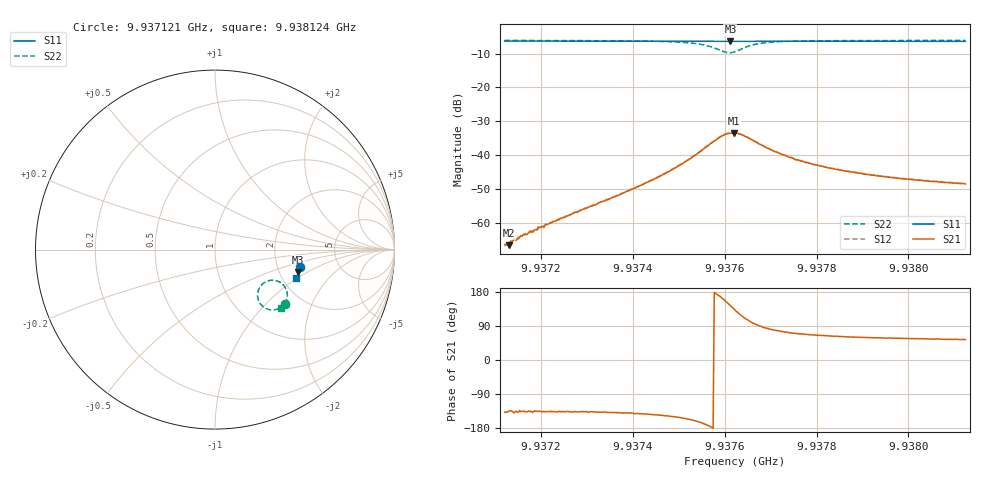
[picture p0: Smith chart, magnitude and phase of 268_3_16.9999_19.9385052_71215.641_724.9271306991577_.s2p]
#  HZ  S  RI  R  50.00
! Rohde & Schwarz Vector Network Analyzer
! Rohde-Schwarz,ZNB20-2Port,1311601062101988,3.16
! Created: UTC 3/20/2024, 11:04:05 PM
! freq[Hz]  re:S11  im:S11  re:S21  im:S21  re:S12  im:S12  re:S22  im:S22
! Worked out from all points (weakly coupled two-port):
!   401 points, 9.937121 GHz to 9.938124 GHz, reference 50 ohm
!   highest |S21| = -33.44 dB at 9.93762 GHz (marker M1); lowest = -66.8 dB at 9.937131 GHz (marker M2)
!   lowest |S11| = -6.4 dB at 9.937612 GHz (marker M3), VSWR 2.84, Z = 126 - j41.6 ohm
!   |S11| at or under -10 dB: nowhere
!   |S22| runs from -9.8 to -6.1 dB; largest |S21 - S12| = 0.001
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9.9371209e9  0.4748 -0.0954  -0.00035 -0.000318  -0.000328 -0.000306  0.3923 -0.3011
9.937131e9  0.4746 -0.096  -0.000322 -0.000328  -0.000361 -0.000362  0.3916 -0.302
9.9371385e9  0.4744 -0.0965  -0.00038 -0.00037  -0.000398 -0.000379  0.3913 -0.3025
9.9371661e9  0.4738 -0.0985  -0.000491 -0.000457  -0.000503 -0.000475  0.3891 -0.3044
9.9371987e9  0.4732 -0.1006  -0.000608 -0.000594  -0.000625 -0.000596  0.3864 -0.3072
9.9372889e9  0.4715 -0.1067  -0.0011 -0.00108  -0.00111 -0.00108  0.3775 -0.3147
9.9373717e9  0.4698 -0.1123  -0.00195 -0.00169  -0.00201 -0.00169  0.3662 -0.3226
9.9374569e9  0.4677 -0.1181  -0.00393 -0.0027  -0.00402 -0.00271  0.3451 -0.332
9.9375146e9  0.4663 -0.122  -0.00719 -0.00339  -0.00742 -0.00332  0.3154 -0.3359
9.9375572e9  0.4649 -0.1249  -0.0126 -0.00234  -0.0129 -0.00219  0.2728 -0.3213
9.9375924e9  0.4631 -0.1265  -0.0182 0.00478  -0.0184 0.00549  0.2372 -0.2566
9.9376124e9  0.4625 -0.1268  -0.0168 0.0126  -0.0168 0.0134  0.2588 -0.1975
9.9376199e9  0.4627 -0.1269  -0.015 0.0151  -0.0146 0.0158  0.2788 -0.1815
9.9376224e9  0.4627 -0.127  -0.0141 0.0158  -0.0138 0.0164  0.2859 -0.1776
9.937635e9  0.4628 -0.1275  -0.00957 0.0177  -0.009 0.0183  0.3239 -0.1705
9.93765e9  0.4631 -0.1284  -0.005 0.0176  -0.00445 0.0176  0.3605 -0.1809
9.9376801e9  0.4631 -0.1306  0.000368 0.014  0.000775 0.0141  0.3945 -0.2175
9.9377403e9  0.4622 -0.135  0.00293 0.00874  0.00295 0.00881  0.4025 -0.2644
9.9377904e9  0.461 -0.1387  0.00296 0.00671  0.00313 0.00672  0.3978 -0.2837
9.9378632e9  0.4592 -0.1436  0.00277 0.00507  0.00288 0.0051  0.3904 -0.2997
9.9379585e9  0.457 -0.1499  0.00248 0.00397  0.00263 0.00397  0.3823 -0.3127
9.938124e9  0.4525 -0.1604  0.00221 0.003  0.00231 0.00303  0.3702 -0.3273
